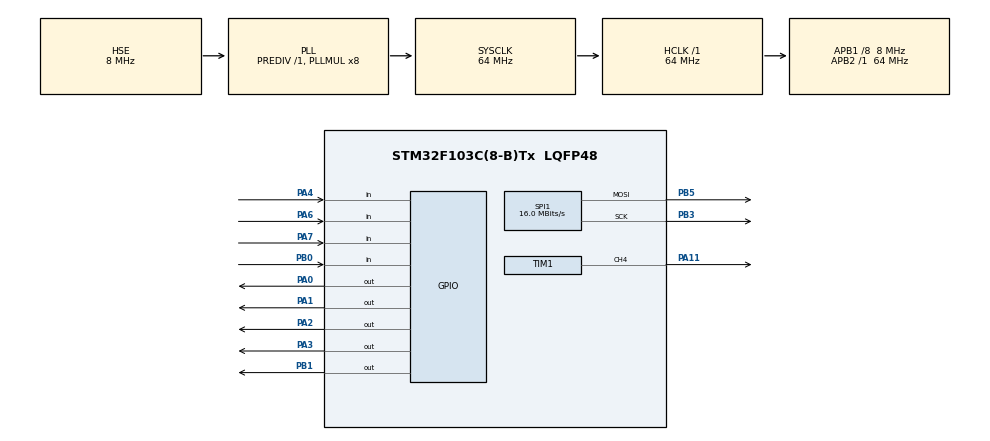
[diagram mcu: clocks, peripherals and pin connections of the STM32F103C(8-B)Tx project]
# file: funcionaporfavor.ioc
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Mcu.Family=STM32F1
Mcu.Name=STM32F103C(8-B)Tx
Mcu.Package=LQFP48
NVIC.PriorityGroup=NVIC_PRIORITYGROUP_4
PA0-WKUP.Signal=GPIO_Output
PA1.Signal=GPIO_Output
PA11.Signal=S_TIM1_CH4
PA13.Mode=Serial_Wire
PA13.Signal=SYS_JTMS-SWDIO
PA14.Mode=Serial_Wire
PA14.Signal=SYS_JTCK-SWCLK
PA2.Signal=GPIO_Output
PA3.Signal=GPIO_Output
PA4.GPIO_PuPd=GPIO_PULLDOWN
PA4.Signal=GPIO_Input
PA6.GPIO_PuPd=GPIO_PULLDOWN
PA6.Signal=GPIO_Input
PA7.GPIO_PuPd=GPIO_PULLDOWN
PA7.Signal=GPIO_Input
PB0.Signal=GPIO_Input
PB1.PinState=GPIO_PIN_SET
PB1.Signal=GPIO_Output
PB3.Mode=TX_Only_Simplex_Unidirect_Master
PB3.Signal=SPI1_SCK
PB5.Mode=TX_Only_Simplex_Unidirect_Master
PB5.Signal=SPI1_MOSI
PD0-OSC_IN.Mode=HSE-External-Oscillator
PD0-OSC_IN.Signal=RCC_OSC_IN
PD1-OSC_OUT.Mode=HSE-External-Oscillator
PD1-OSC_OUT.Signal=RCC_OSC_OUT
ProjectManager.HeapSize=0x200
ProjectManager.StackSize=0x400
ProjectManager.TargetToolchain=TrueSTUDIO
RCC.AHBFreq_Value=64000000
RCC.APB1CLKDivider=RCC_HCLK_DIV8
RCC.APB1Freq_Value=8000000
RCC.APB1TimFreq_Value=16000000
RCC.APB2Freq_Value=64000000
RCC.APB2TimFreq_Value=64000000
RCC.HCLKFreq_Value=64000000
RCC.PLLMUL=RCC_PLL_MUL8
RCC.PLLSourceVirtual=RCC_PLLSOURCE_HSE
RCC.SYSCLKFreq_VALUE=64000000
RCC.SYSCLKSource=RCC_SYSCLKSOURCE_PLLCLK
RCC.USBFreq_Value=64000000
SH.S_TIM1_CH4.0=TIM1_CH4,PWM Generation4 CH4
SPI1.BaudRatePrescaler=SPI_BAUDRATEPRESCALER_4
SPI1.CalculateBaudRate=16.0 MBits/s
SPI1.Direction=SPI_DIRECTION_2LINES
SPI1.Mode=SPI_MODE_MASTER
SPI1.VirtualType=VM_MASTER
TIM1.Channel-PWM\ Generation4\ CH4=TIM_CHANNEL_4
VP_TIM1_VS_ClockSourceINT.Mode=Internal
board=funcionaporfavor

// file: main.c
/**
  ******************************************************************************
  * File Name          : main.c
  * Description        : Main program body
  ******************************************************************************
  ** This notice applies to any and all portions of this file
  * that are not between comment pairs USER CODE BEGIN and
  * USER CODE END. Other portions of this file, whether
  * inserted by the user or by software development tools
  * are owned by their respective copyright owners.
  *
  * COPYRIGHT(c) 2017 STMicroelectronics
  *
  * Redistribution and use in source and binary forms, with or without modification,
  * are permitted provided that the following conditions are met:
  *   1. Redistributions of source code must retain the above copyright notice,
  *      this list of conditions and the following disclaimer.
  *   2. Redistributions in binary form must reproduce the above copyright notice,
  *      this list of conditions and the following disclaimer in the documentation
  *      and/or other materials provided with the distribution.
  *   3. Neither the name of STMicroelectronics nor the names of its contributors
  *      may be used to endorse or promote products derived from this software
  *      without specific prior written permission.
  *
  * THIS SOFTWARE IS PROVIDED BY THE COPYRIGHT HOLDERS AND CONTRIBUTORS "AS IS"
  * AND ANY EXPRESS OR IMPLIED WARRANTIES, INCLUDING, BUT NOT LIMITED TO, THE
  * IMPLIED WARRANTIES OF MERCHANTABILITY AND FITNESS FOR A PARTICULAR PURPOSE ARE
  * DISCLAIMED. IN NO EVENT SHALL THE COPYRIGHT HOLDER OR CONTRIBUTORS BE LIABLE
  * FOR ANY DIRECT, INDIRECT, INCIDENTAL, SPECIAL, EXEMPLARY, OR CONSEQUENTIAL
  * DAMAGES (INCLUDING, BUT NOT LIMITED TO, PROCUREMENT OF SUBSTITUTE GOODS OR
  * SERVICES; LOSS OF USE, DATA, OR PROFITS; OR BUSINESS INTERRUPTION) HOWEVER
  * CAUSED AND ON ANY THEORY OF LIABILITY, WHETHER IN CONTRACT, STRICT LIABILITY,
  * OR TORT (INCLUDING NEGLIGENCE OR OTHERWISE) ARISING IN ANY WAY OUT OF THE USE
  * OF THIS SOFTWARE, EVEN IF ADVISED OF THE POSSIBILITY OF SUCH DAMAGE.
  *
  ******************************************************************************
  */
#include "main.h"
#include "stm32f1xx_hal.h"
#include "spi.h"
#include "tim.h"
#include "gpio.h"

/* USER CODE BEGIN PV */
/* Private variables ---------------------------------------------------------*/

/* USER CODE END PV */

void SystemClock_Config(void);

/* USER CODE BEGIN PFP */
/* Private function prototypes -----------------------------------------------*/

/* USER CODE END PFP */

/* USER CODE BEGIN 0 */
typedef struct{
	int teste;
	int rodada_atual;
	int x[100];
	uint16_t gpio_pin[100];
	int botao;
	int sequencia_botao;
	int sequencia;
	int acabou_sequencia;
	int velocidade;
	int aux;
}var_t;

var_t var;
void fim(){
	HAL_GPIO_WritePin(GPIOA, GPIO_PIN_0, GPIO_PIN_SET);
	HAL_GPIO_WritePin(GPIOA, GPIO_PIN_1, GPIO_PIN_SET);
	HAL_GPIO_WritePin(GPIOA, GPIO_PIN_2, GPIO_PIN_SET);
	HAL_GPIO_WritePin(GPIOA, GPIO_PIN_3, GPIO_PIN_SET);
	HAL_Delay(100);
	HAL_GPIO_WritePin(GPIOA, GPIO_PIN_0, GPIO_PIN_RESET);
	HAL_GPIO_WritePin(GPIOA, GPIO_PIN_1, GPIO_PIN_RESET);
	HAL_GPIO_WritePin(GPIOA, GPIO_PIN_2, GPIO_PIN_RESET);
	HAL_GPIO_WritePin(GPIOA, GPIO_PIN_3, GPIO_PIN_RESET);
	HAL_Delay(100);
	HAL_GPIO_WritePin(GPIOA, GPIO_PIN_0, GPIO_PIN_SET);
	HAL_GPIO_WritePin(GPIOA, GPIO_PIN_1, GPIO_PIN_SET);
	HAL_GPIO_WritePin(GPIOA, GPIO_PIN_2, GPIO_PIN_SET);
	HAL_GPIO_WritePin(GPIOA, GPIO_PIN_3, GPIO_PIN_SET);
	HAL_Delay(100);
	HAL_GPIO_WritePin(GPIOA, GPIO_PIN_0, GPIO_PIN_RESET);
	HAL_GPIO_WritePin(GPIOA, GPIO_PIN_1, GPIO_PIN_RESET);
	HAL_GPIO_WritePin(GPIOA, GPIO_PIN_2, GPIO_PIN_RESET);
	HAL_GPIO_WritePin(GPIOA, GPIO_PIN_3, GPIO_PIN_RESET);
	HAL_Delay(1000);
}

void inicio(){
	int i=0;

	HAL_GPIO_WritePin(GPIOA, GPIO_PIN_0, GPIO_PIN_SET);
	HAL_Delay(300);

	HAL_GPIO_WritePin(GPIOA, GPIO_PIN_0, GPIO_PIN_RESET);
	HAL_Delay(300);

	HAL_GPIO_WritePin(GPIOA, GPIO_PIN_1, GPIO_PIN_SET);
	HAL_Delay(300);

	HAL_GPIO_WritePin(GPIOA, GPIO_PIN_1, GPIO_PIN_RESET);
	HAL_Delay(300);

	HAL_GPIO_WritePin(GPIOA, GPIO_PIN_2, GPIO_PIN_SET);
	HAL_Delay(300);

	HAL_GPIO_WritePin(GPIOA, GPIO_PIN_2, GPIO_PIN_RESET);
	HAL_Delay(300);

	HAL_GPIO_WritePin(GPIOA, GPIO_PIN_3, GPIO_PIN_SET);
	HAL_Delay(300);

	HAL_GPIO_WritePin(GPIOA, GPIO_PIN_3, GPIO_PIN_RESET);
	HAL_Delay(300);

	HAL_GPIO_WritePin(GPIOA, GPIO_PIN_0, GPIO_PIN_SET);
	HAL_GPIO_WritePin(GPIOA, GPIO_PIN_1, GPIO_PIN_SET);
	HAL_GPIO_WritePin(GPIOA, GPIO_PIN_2, GPIO_PIN_SET);
	HAL_GPIO_WritePin(GPIOA, GPIO_PIN_3, GPIO_PIN_SET);
	HAL_Delay(300);

	HAL_GPIO_WritePin(GPIOA, GPIO_PIN_0, GPIO_PIN_RESET);
	HAL_GPIO_WritePin(GPIOA, GPIO_PIN_1, GPIO_PIN_RESET);
	HAL_GPIO_WritePin(GPIOA, GPIO_PIN_2, GPIO_PIN_RESET);
	HAL_GPIO_WritePin(GPIOA, GPIO_PIN_3, GPIO_PIN_RESET);
	HAL_Delay(300);

	HAL_GPIO_WritePin(GPIOA, GPIO_PIN_0, GPIO_PIN_SET);
	HAL_GPIO_WritePin(GPIOA, GPIO_PIN_1, GPIO_PIN_SET);
	HAL_GPIO_WritePin(GPIOA, GPIO_PIN_2, GPIO_PIN_SET);
	HAL_GPIO_WritePin(GPIOA, GPIO_PIN_3, GPIO_PIN_SET);
	HAL_Delay(300);
	HAL_GPIO_WritePin(GPIOA, GPIO_PIN_0, GPIO_PIN_RESET);
	HAL_GPIO_WritePin(GPIOA, GPIO_PIN_1, GPIO_PIN_RESET);
	HAL_GPIO_WritePin(GPIOA, GPIO_PIN_2, GPIO_PIN_RESET);
	HAL_GPIO_WritePin(GPIOA, GPIO_PIN_3, GPIO_PIN_RESET);

}

void loop()
{
	uint16_t gpio_pin[80]={};
	uint16_t x[80]={};
	var.rodada_atual = 0;
	var.sequencia_botao = 0;
	var.teste=0;
	var.sequencia=0;
	var.velocidade=0;
	int i;
	int j=2;

	inicio();
	HAL_Delay(1000);
}

void proximaRodada(){

	var.x[var.sequencia_botao]= (0+ (rand() % 4));

	var.gpio_pin[var.rodada_atual]  = (uint16_t)(1 << (var.x[var.sequencia_botao])) ;
}

void reproduzSequencia(){
	int k=0;
	for(int i=0; i<(var.rodada_atual);i++){

		HAL_GPIO_WritePin(GPIOA,(var.gpio_pin[i]),GPIO_PIN_SET);
		HAL_Delay(700-var.velocidade);

		HAL_GPIO_WritePin(GPIOA,(var.gpio_pin[i]),GPIO_PIN_RESET);
		HAL_Delay(700-var.velocidade);

		}

	if(var.velocidade<400){
		var.velocidade+=40;
	}

}

void botao_clicado(){
	int i;

	if(HAL_GPIO_ReadPin(GPIOA,GPIO_PIN_4)==GPIO_PIN_RESET){

		HAL_GPIO_WritePin(GPIOA,GPIO_PIN_0,GPIO_PIN_SET);
		HAL_Delay(1000);

		HAL_GPIO_WritePin(GPIOA,GPIO_PIN_0,GPIO_PIN_RESET);

		if(var.x[var.sequencia_botao]!=0){
			var.teste=1;
		}
	}
	if(HAL_GPIO_ReadPin(GPIOB,GPIO_PIN_0)==GPIO_PIN_RESET){

		HAL_GPIO_WritePin(GPIOA,GPIO_PIN_1,GPIO_PIN_SET);
		HAL_Delay(1000);

		HAL_GPIO_WritePin(GPIOA,GPIO_PIN_1,GPIO_PIN_RESET);

		if(var.x[var.sequencia_botao]!=1){
			var.teste=1;
		}
	}
	if(HAL_GPIO_ReadPin(GPIOA,GPIO_PIN_6)==GPIO_PIN_RESET){

		HAL_GPIO_WritePin(GPIOA,GPIO_PIN_2,GPIO_PIN_SET);
			HAL_Delay(1000);

		HAL_GPIO_WritePin(GPIOA,GPIO_PIN_2,GPIO_PIN_RESET);

		if(var.x[var.sequencia_botao]!=2){
			var.teste=1;
		}
	}
	if(HAL_GPIO_ReadPin(GPIOA,GPIO_PIN_7)==GPIO_PIN_RESET){

		HAL_GPIO_WritePin(GPIOA,GPIO_PIN_3,GPIO_PIN_SET);
		HAL_Delay(1000);

		HAL_GPIO_WritePin(GPIOA,GPIO_PIN_3,GPIO_PIN_RESET);

		if(var.x[var.sequencia_botao]!=3){
			var.teste=1;
		}
	}

}

void Botao(){
	int i;

	if((HAL_GPIO_ReadPin(GPIOA,GPIO_PIN_4)==(GPIO_PIN_RESET))){
		var.aux=1;
		var.botao=1;
	}
	if((HAL_GPIO_ReadPin(GPIOB,GPIO_PIN_0)==(GPIO_PIN_RESET))){
		var.aux=2;
		var.botao=1;
	}
	if((HAL_GPIO_ReadPin(GPIOA,GPIO_PIN_6)==(GPIO_PIN_RESET))){
		var.aux=3;
		var.botao=1;
	}
	if((HAL_GPIO_ReadPin(GPIOA,GPIO_PIN_7)==(GPIO_PIN_RESET))){
		var.aux=4;
		var.botao=1;
	}

	if(var.aux==0){
		var.botao=0;
	}

}
/* USER CODE END 0 */

int main(void)
{

  /* USER CODE BEGIN 1 */
	int i =0;
	var.aux=0;
  /* USER CODE END 1 */

  /* MCU Configuration----------------------------------------------------------*/

  /* Reset of all peripherals, Initializes the Flash interface and the Systick. */
  HAL_Init();

  /* Configure the system clock */
  SystemClock_Config();

  /* Initialize all configured peripherals */
  MX_GPIO_Init();
  MX_TIM1_Init();
  MX_SPI1_Init();

  /* USER CODE BEGIN 2 */
  GPIO_PinState pin;
  //while(1){
	  pin = HAL_GPIO_ReadPin(GPIOB, GPIO_PIN_0);
 // }
  loop();
  /* USER CODE END 2 */

  /* Infinite loop */
  while (1)
  {

  /* USER CODE BEGIN 3 */
	  proximaRodada();
	  		var.sequencia=0;
	  		var.rodada_atual++;
	  		reproduzSequencia();
	  		var.sequencia_botao=0;

	  		while(1) //botão
	  		{
  				var.aux=0;
	  			Botao();

	  			if(var.botao==1){
	  				botao_clicado();
	  				HAL_Delay(500);
	  				var.sequencia++;
	  				var.sequencia_botao++;
	  				var.botao==0;

	  			}

	  			if(var.teste==1){
	  				HAL_Delay(600);
	  				fim();
	  				loop();
	  				break;
	  			}
	  			if(var.sequencia==var.rodada_atual){
	  				HAL_Delay(600);
	  				break;
	  			}
		  		i=i+1;

	  		}
	  		var.sequencia_botao=var.sequencia;

	}
}
  /* USER CODE END 3 */

/** System Clock Configuration
*/
void SystemClock_Config(void)
{

  RCC_OscInitTypeDef RCC_OscInitStruct;
  RCC_ClkInitTypeDef RCC_ClkInitStruct;

    /**Initializes the CPU, AHB and APB busses clocks
    */
  RCC_OscInitStruct.OscillatorType = RCC_OSCILLATORTYPE_HSE;
  RCC_OscInitStruct.HSEState = RCC_HSE_ON;
  RCC_OscInitStruct.HSEPredivValue = RCC_HSE_PREDIV_DIV1;
  RCC_OscInitStruct.HSIState = RCC_HSI_ON;
  RCC_OscInitStruct.PLL.PLLState = RCC_PLL_ON;
  RCC_OscInitStruct.PLL.PLLSource = RCC_PLLSOURCE_HSE;
  RCC_OscInitStruct.PLL.PLLMUL = RCC_PLL_MUL8;
  if (HAL_RCC_OscConfig(&RCC_OscInitStruct) != HAL_OK)
  {
    _Error_Handler(__FILE__, __LINE__);
  }

    /**Initializes the CPU, AHB and APB busses clocks
    */
  RCC_ClkInitStruct.ClockType = RCC_CLOCKTYPE_HCLK|RCC_CLOCKTYPE_SYSCLK
                              |RCC_CLOCKTYPE_PCLK1|RCC_CLOCKTYPE_PCLK2;
  RCC_ClkInitStruct.SYSCLKSource = RCC_SYSCLKSOURCE_PLLCLK;
  RCC_ClkInitStruct.AHBCLKDivider = RCC_SYSCLK_DIV1;
  RCC_ClkInitStruct.APB1CLKDivider = RCC_HCLK_DIV8;
  RCC_ClkInitStruct.APB2CLKDivider = RCC_HCLK_DIV1;

  if (HAL_RCC_ClockConfig(&RCC_ClkInitStruct, FLASH_LATENCY_2) != HAL_OK)
  {
    _Error_Handler(__FILE__, __LINE__);
  }

    /**Configure the Systick interrupt time
    */
  HAL_SYSTICK_Config(HAL_RCC_GetHCLKFreq()/1000);

    /**Configure the Systick
    */
  HAL_SYSTICK_CLKSourceConfig(SYSTICK_CLKSOURCE_HCLK);

  /* SysTick_IRQn interrupt configuration */
  HAL_NVIC_SetPriority(SysTick_IRQn, 0, 0);
}

void _Error_Handler(char * file, int line)
{
  while(1)
  {
  }
}

/************************ (C) COPYRIGHT STMicroelectronics *****END OF FILE****/
